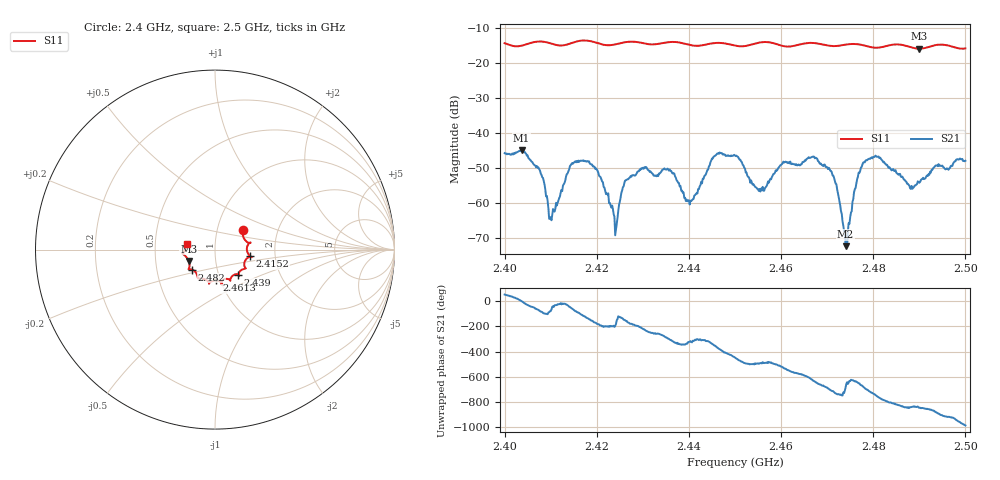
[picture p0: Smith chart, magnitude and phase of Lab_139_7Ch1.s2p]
# Hz S RI R 50
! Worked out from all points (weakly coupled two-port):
!   601 points, 2.4 GHz to 2.5 GHz, reference 50 ohm
!   highest |S21| = -44.99 dB at 2.4037 GHz (marker M1); lowest = -72.4 dB at 2.474 GHz (marker M2)
!   lowest |S11| = -15.9 dB at 2.49 GHz (marker M3), VSWR 1.38, Z = 37 - j4.8 ohm
!   |S11| at or under -10 dB: start of sweep to end of sweep
!   S12 and S22 are empty: the file has one direction only
!   S11 on the Smith chart (normalised r, x): 2.4 GHz: 1.33, +0.31; 2.4152 GHz: 1.48, -0.11; 2.439 GHz: 1.24, -0.36; 2.4613 GHz: 0.96, -0.34; 2.482 GHz: 0.76, -0.17; 2.5 GHz: 0.73, +0.05
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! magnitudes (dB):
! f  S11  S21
! 2.4 GHz  -14.4  -45.8
! 2.4037 GHz  -15.1  -45.0
! 2.4078 GHz  -13.9  -51.6
! 2.4102 GHz  -14.5  -65.0
! 2.4152 GHz  -14.1  -48.4
! 2.4167 GHz  -13.6  -48.0
! 2.4203 GHz  -14.4  -51.4
! 2.4242 GHz  -14.7  -67.7
! 2.4265 GHz  -14.0  -53.4
! 2.4333 GHz  -14.5  -52.4
! 2.439 GHz  -14.5  -58.6
! 2.45 GHz  -15.0  -46.5
! 2.4553 GHz  -14.2  -56.0
! 2.4613 GHz  -15.3  -48.4
! 2.4667 GHz  -14.3  -46.9
! 2.4712 GHz  -15.2  -52.2
! 2.474 GHz  -14.8  -72.4
! 2.4773 GHz  -14.8  -50.0
! 2.482 GHz  -15.4  -48.0
! 2.4833 GHz  -15.0  -50.0
! 2.49 GHz  -15.9  -54.3
! 2.5 GHz  -15.8  -48.0
